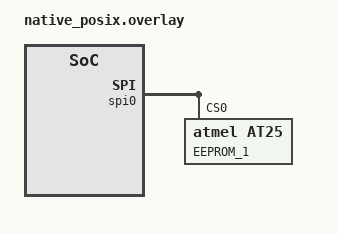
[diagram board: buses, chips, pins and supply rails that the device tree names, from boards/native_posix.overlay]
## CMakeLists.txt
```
# SPDX-License-Identifier: Apache-2.0

cmake_minimum_required(VERSION 3.13.1)

find_package(Zephyr REQUIRED HINTS $ENV{ZEPHYR_BASE})
project(spi_eeprom)

FILE(GLOB app_sources src/*.c)
target_sources(app PRIVATE ${app_sources})
```

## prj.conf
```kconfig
CONFIG_TEST=y
CONFIG_BOOT_BANNER=y
CONFIG_SPI=y
CONFIG_SPI_ASYNC=y
CONFIG_SPI_LOG_LEVEL_INF=y
CONFIG_ZTEST=y
CONFIG_EEPROM=y
CONFIG_EEPROM_AT25=y
CONFIG_NO_OPTIMIZATIONS=y
```

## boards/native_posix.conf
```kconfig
CONFIG_SPI_SIM=y
CONFIG_SPI_0=y
CONFIG_SPI_LOOPBACK_DRV_NAME="SPI_0"

CONFIG_SPI_LOOPBACK_SLOW_FREQ=2000000
CONFIG_SPI_LOOPBACK_FAST_FREQ=3000000

CONFIG_SPI_LOOPBACK_MODE_LOOP=y

#The driver does not yet have async support
CONFIG_SPI_ASYNC=n
```

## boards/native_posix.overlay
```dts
/*
 * Copyright (c) 2020 Friedt Professional Engineering Services, Inc
 *
 * SPDX-License-Identifier: Apache-2.0
 */

&spi0 {
	status = "okay";
	
	test_spi_at25: at25@0 {
		status = "okay";
        compatible = "atmel,at25";
        label = "EEPROM_1";
        reg = <0x0>;
        spi-max-frequency = <0>;
        size = <65536>;
        pagesize = <256>;
        address-width = <24>;
        timeout = <5>;
        /* wp-gpios = <&test_gpio 0 0>; */
        /* read-only; */
	};

	/* i2c eeprom */
/*
	eeprom@57 {
		status = "okay";
		compatible = "atmel,at24";
		reg = <0x57>;
		label = "EEPROM_1";
		size = <256>;
		pagesize = <8>;
		address-width = <8>;
		timeout = <5>;
	};
*/
};
```

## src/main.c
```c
/*
 * Copyright (c) 2019 Vestas Wind Systems A/S
 *
 * SPDX-License-Identifier: Apache-2.0
 */

#include <ztest.h>
#include <drivers/eeprom.h>
#include <device.h>

static void test_size(void)
{
	struct device *eeprom;
	size_t size;

	eeprom = device_get_binding("EEPROM_1");

	size = eeprom_get_size(eeprom);
	zassert_not_equal(0, size, "Unexpected size of zero bytes");
}

static void test_out_of_bounds(void)
{
	const uint8_t data[4] = { 0x01, 0x02, 0x03, 0x03 };
	struct device *eeprom;
	size_t size;
	int rc;

	eeprom = device_get_binding("EEPROM_1");
	size = eeprom_get_size(eeprom);

	rc = eeprom_write(eeprom, size - 1, data, sizeof(data));
	zassert_equal(-EINVAL, rc, "Unexpected error code (%d)", rc);
}

static void test_write_and_verify(void)
{
	const uint8_t wr_buf1[4] = { 0xFF, 0xEE, 0xDD, 0xCC };
	const uint8_t wr_buf2[sizeof(wr_buf1)] = { 0xAA, 0xBB, 0xCC, 0xDD };
	uint8_t rd_buf[sizeof(wr_buf1)];
	struct device *eeprom;
	int rc;

	eeprom = device_get_binding("EEPROM_1");

	rc = eeprom_write(eeprom, 0, wr_buf1, sizeof(wr_buf1));
	zassert_equal(0, rc, "Unexpected error code (%d)", rc);

	rc = eeprom_read(eeprom, 0, rd_buf, sizeof(rd_buf));
	zassert_equal(0, rc, "Unexpected error code (%d)", rc);

	rc = memcmp(wr_buf1, rd_buf, sizeof(wr_buf1));
	zassert_equal(0, rc, "Unexpected error code (%d)", rc);

	rc = eeprom_write(eeprom, 0, wr_buf2, sizeof(wr_buf2));
	zassert_equal(0, rc, "Unexpected error code (%d)", rc);

	rc = eeprom_read(eeprom, 0, rd_buf, sizeof(rd_buf));
	zassert_equal(0, rc, "Unexpected error code (%d)", rc);

	rc = memcmp(wr_buf2, rd_buf, sizeof(wr_buf2));
	zassert_equal(0, rc, "Unexpected error code (%d)", rc);
}

static void test_zero_length_write(void)
{
	const uint8_t wr_buf1[4] = { 0x10, 0x20, 0x30, 0x40 };
	const uint8_t wr_buf2[sizeof(wr_buf1)] = { 0xAA, 0xBB, 0xCC, 0xDD };
	uint8_t rd_buf[sizeof(wr_buf1)];
	struct device *eeprom;
	int rc;

	eeprom = device_get_binding("EEPROM_1");

	rc = eeprom_write(eeprom, 0, wr_buf1, sizeof(wr_buf1));
	zassert_equal(0, rc, "Unexpected error code (%d)", rc);

	rc = eeprom_read(eeprom, 0, rd_buf, sizeof(rd_buf));
	zassert_equal(0, rc, "Unexpected error code (%d)", rc);

	rc = memcmp(wr_buf1, rd_buf, sizeof(wr_buf1));
	zassert_equal(0, rc, "Unexpected error code (%d)", rc);

	rc = eeprom_write(eeprom, 0, wr_buf2, 0);
	zassert_equal(0, rc, "Unexpected error code (%d)", rc);

	rc = eeprom_read(eeprom, 0, rd_buf, sizeof(rd_buf));
	zassert_equal(0, rc, "Unexpected error code (%d)", rc);

	rc = memcmp(wr_buf1, rd_buf, sizeof(wr_buf1));
	zassert_equal(0, rc, "Unexpected error code (%d)", rc);
}

void test_main(void)
{
	static struct device *eeprom;

	if (IS_ENABLED(CONFIG_SPI_SIM)) {
		extern void sim_setup(void);
		sim_setup();
	}

	eeprom = device_get_binding("EEPROM_1");
	zassert_not_null(eeprom, "Unable to get EEPROM device");

	k_object_access_grant(eeprom, k_current_get());

	ztest_test_suite(spi_eeprom,
			 ztest_user_unit_test(test_size),
			 ztest_user_unit_test(test_out_of_bounds),
			 ztest_user_unit_test(test_write_and_verify),
			 ztest_user_unit_test(test_zero_length_write));

	ztest_run_test_suite(spi_eeprom);
}
```

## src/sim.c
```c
/*
 * Copyright (c) 2020 Friedt Professional Engineering Services, Inc
 *
 * SPDX-License-Identifier: Apache-2.0
 */

#ifdef CONFIG_SPI_SIM

#include <drivers/spi.h>
#include <drivers/spi/spi_sim.h>
#include <drivers/eeprom.h>
#include <stdio.h>
#include <sys/util.h>
#include <zephyr.h>

#include <logging/log.h>
//LOG_MODULE_REGISTER(test_spi_sim, CONFIG_SPI_LOG_LEVEL);
LOG_MODULE_REGISTER(test_spi_sim, LOG_LEVEL_DBG);

#ifndef SPI_DEV_NAME
#define SPI_DEV_NAME "SPI_0"
#endif

static char *to_string(uint8_t *data, size_t len)
{
	static char buf[65536];
	char *p = buf;

	memset(buf, '\0', sizeof(buf));

	for (size_t i = 0; NULL != data && i < len && p < buf + sizeof(buf) - 4;
	     ++i) {
		sprintf(p, "%02x", data[i]);
		p += 2;
		if (i < len - 1) {
			*p++ = ',';
			*p++ = ' ';
		}
	}

	return buf;
}

/* AT25 instruction set (least-significant nibble) */
typedef enum {
	AT25_WRSR = 1, /* Write STATUS register        */
	AT25_WRITE = 2, /* Write data to memory array   */
	AT25_READ = 3, /* Read data from memory array  */
	AT25_WRDI = 4, /* Reset the write enable latch */
	AT25_RDSR = 5, /* Read STATUS register         */
	AT25_WREN = 6, /* Set the write enable latch   */
	AT25_EONE = 0x52, /* Erase One Sector in Memory Array */
	AT25_EALL = 0x62, /* Erase All Sectors in Memory Array */
	AT25_RDR = 0x15, /* Read Manufacturer and Product ID */
} at25_op_t;

static const char *at25_op_to_string(at25_op_t op) {
	switch(op) {
	case AT25_WRSR:  return "WRSR ";
	case AT25_WRITE: return "WRITE";
	case AT25_READ:  return "READ ";
	case AT25_WRDI:  return "WRDI ";
	case AT25_RDSR:  return "RDSR ";
	case AT25_WREN:  return "WREN ";
	case AT25_EONE:  return "EONE ";
	case AT25_EALL:  return "EALL ";
	case AT25_RDR:   return "RDR  ";
	default:         return "     ";
	}
}

/* AT25 status register bits */
typedef enum {
	AT25_STATUS_WIP = BIT(0), /* Write-In-Process   (RO) */
	AT25_STATUS_WEL = BIT(1), /* Write Enable Latch (RO) */
	AT25_STATUS_BP0 = BIT(2), /* Block Protection 0 (RW) */
	AT25_STATUS_BP1 = BIT(3), /* Block Protection 1 (RW) */
} at25_status_t;

static int spi_sim_callback(struct device *dev, const struct spi_config *config,
			    const struct spi_buf_set *tx_bufs,
			    const struct spi_buf_set *rx_bufs)
{
	static uint8_t status;
	static uint8_t data[256];
	static bool write;
	static uint32_t addr;
	const struct spi_buf *tx = &tx_bufs->buffers[0];
	const struct spi_buf *rx;

	at25_op_t op = ((uint8_t *)tx->buf)[0] & (~0x08);

	switch(op) {
	case AT25_WRSR:
		break;
	case AT25_WRITE:

		write = true;

		addr = 0;
		/* A[23..17] are don't care bits for the 512k version */
		/* addr |= (uint32_t)(((uint8_t *)tx->buf)[0]) << 16; */
		/* A[16] should be a zero bit for the 512k version */
		addr |= ((uint32_t)(((uint8_t *)tx->buf)[1]) << 8) & 7;
		addr |= (uint32_t)(((uint8_t *)tx->buf)[2]) << 0;

		tx = &tx_bufs->buffers[1];

		LOG_DBG("%s(): %s "
			"len: %u data: [%s]",
			__func__, at25_op_to_string(op),
			(unsigned int)tx->len, log_strdup(to_string(tx->buf, tx->len)));

		memcpy(&data[addr], (uint8_t *)tx->buf, tx->len);

		write = false;

		break;

	case AT25_READ:

		write = false;

		addr = 0;
		/* A[23..17] are don't care bits for the 512k version */
		/* addr |= (uint32_t)(((uint8_t *)tx->buf)[0]) << 16; */
		/* A[16] should be a zero bit for the 512k version */
		addr |= ((uint32_t)(((uint8_t *)tx->buf)[1]) << 8) & 7;
		addr |= (uint32_t)(((uint8_t *)tx->buf)[2]) << 0;

		rx = &rx_bufs->buffers[1];

		memcpy(rx->buf, &data[addr], rx->len);

		LOG_DBG("%s(): %s "
			"len: %u data: [%s]",
			__func__, at25_op_to_string(op),
			(unsigned int)rx->len, log_strdup(to_string(rx->buf, rx->len)));

		break;

	case AT25_WRDI:
		break;

	case AT25_RDSR:

		LOG_DBG("%s(): %s "
			"len: %u data: [%s]",
			__func__, at25_op_to_string(op),
			(unsigned int)tx->len, log_strdup(to_string(tx->buf, tx->len)));

		rx = &rx_bufs->buffers[0];
		((uint8_t *)rx->buf)[1] = status;
		break;

	case AT25_WREN:

		LOG_DBG("%s(): %s "
			"len: %u data: [%s]",
			__func__, at25_op_to_string(op),
			(unsigned int)tx->len, log_strdup(to_string(tx->buf, tx->len)));

		status |= AT25_STATUS_WEL;
		break;
	case AT25_EONE:
		break;
	case AT25_EALL:
		break;
	case AT25_RDR:
		break;
	default:

		__ASSERT(1 == 0, "invalid opcode %u", op);

		break;
	}

	return 0;
}

void sim_setup(void)
{
	int r;
	struct device *dev;

	dev = device_get_binding(SPI_DEV_NAME);
	__ASSERT(dev != NULL, "failed to get binding for " SPI_DEV_NAME);

	r = spi_sim_callback_register(dev, 0, spi_sim_callback);
	__ASSERT(r == 0, "failed to register spi_sim callback: %d", r);
}

#endif /* CONFIG_SPI_SIM */
```
